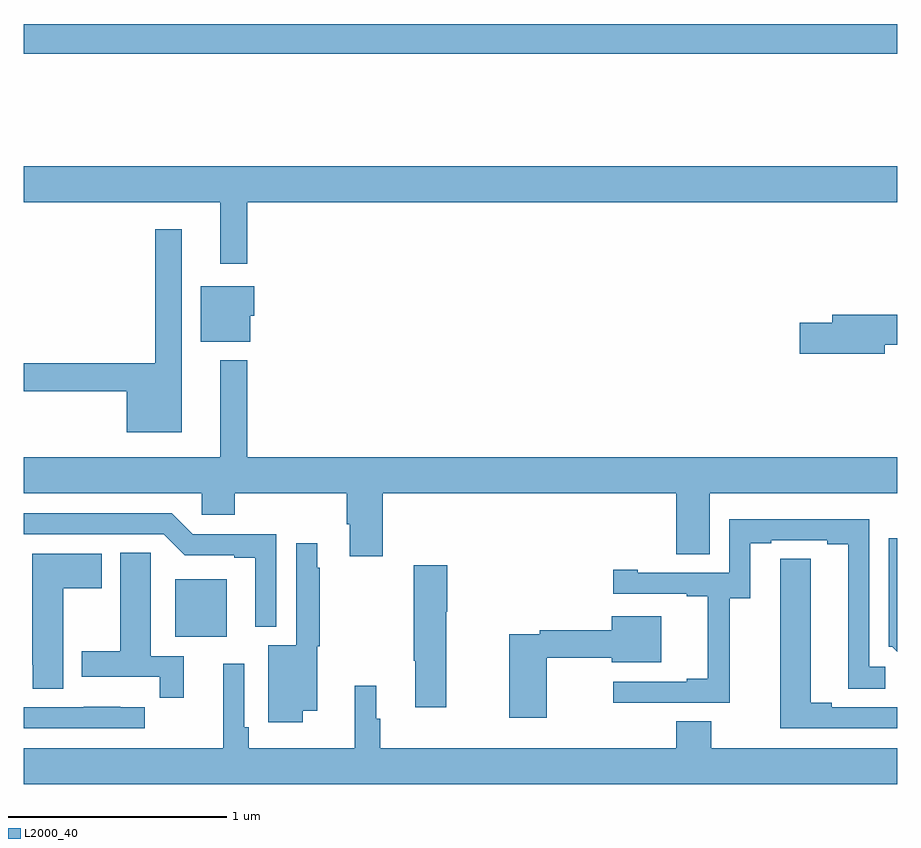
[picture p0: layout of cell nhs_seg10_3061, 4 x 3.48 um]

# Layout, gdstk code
import gdstk
lib = gdstk.Library(unit=1e-6, precision=1e-09)
def R(c, l, rs):  # rectangles x0, y0, x1, y1
    for r in rs: c.add(gdstk.rectangle(r[:2], r[2:], *l))
def P(c, l, *ps):  # polygons
    for p in ps: c.add(gdstk.Polygon(p, *l))
L2000_40 = (2000, 40)

nhs_seg10_3061 = lib.new_cell('nhs_seg10_3061')
R(nhs_seg10_3061, L2000_40, [(277.694,1283.675,277.93,1283.938), (277,1286.344,281,1286.48)])
P(nhs_seg10_3061, L2000_40, [(278.023,1285.664),(281,1285.664),(281,1285.828),(277,1285.828),(277,1285.664),(277.901,1285.664),(277.901,1285.383),(278.023,1285.383)],
  [(277.723,1285.54),(277.602,1285.54),(277.602,1284.926),(277,1284.926),(277,1284.798),(277.472,1284.798),(277.472,1284.611),(277.723,1284.611)],
  [(278.038,1285.143),(278.056,1285.143),(278.056,1285.279),(277.811,1285.279),(277.811,1285.025),(278.038,1285.025)],
  [(280.942,1285.012),(281,1285.012),(281,1285.148),(280.703,1285.148),(280.703,1285.112),(280.554,1285.112),(280.554,1284.97),(280.942,1284.97)],
  [(278.645,1284.332),(279.989,1284.332),(279.989,1284.052),(280.141,1284.052),(280.141,1284.332),(281,1284.332),(281,1284.496),(278.023,1284.496),(278.023,1284.94),(277.901,1284.94),(277.901,1284.496),(277,1284.496),(277,1284.332),(277.815,1284.332),(277.815,1284.234),(277.967,1284.234),(277.967,1284.332),(278.48,1284.332),(278.48,1284.19),(278.492,1284.19),(278.492,1284.042),(278.645,1284.042)],
  [(278.157,1284.144),(277.773,1284.144),(277.677,1284.24),(277,1284.24),(277,1284.144),(277.641,1284.144),(277.737,1284.048),(277.964,1284.048),(277.964,1284.036),(278.06,1284.036),(278.06,1283.72),(278.157,1283.72)],
  [(280.233,1283.851),(280.327,1283.851),(280.327,1284.102),(280.423,1284.102),(280.423,1284.117),(280.679,1284.117),(280.679,1284.097),(280.775,1284.097),(280.775,1283.437),(280.945,1283.437),(280.945,1283.538),(280.872,1283.538),(280.872,1284.213),(280.23,1284.213),(280.23,1283.967),(279.811,1283.967),(279.811,1283.98),(279.699,1283.98),(279.699,1283.871),(280.037,1283.871),(280.037,1283.859),(280.133,1283.859),(280.133,1283.482),(280.037,1283.482),(280.037,1283.469),(279.699,1283.469),(279.699,1283.373),(280.233,1283.373)],
  [(281,1284.125),(280.962,1284.125),(280.962,1283.628),(280.977,1283.628),(281,1283.605)],
  [(278.278,1283.336),(278.344,1283.336),(278.344,1283.631),(278.356,1283.631),(278.356,1283.99),(278.344,1283.99),(278.344,1284.103),(278.247,1284.103),(278.247,1283.635),(278.12,1283.635),(278.12,1283.283),(278.278,1283.283)],
  [(277.733,1283.586),(277.582,1283.586),(277.582,1283.948),(277.581,1283.948),(277.581,1284.059),(277.442,1284.059),(277.442,1283.607),(277.265,1283.607),(277.265,1283.49),(277.624,1283.49),(277.624,1283.394),(277.733,1283.394)],
  [(277.18,1283.896),(277.357,1283.896),(277.357,1284.055),(277.04,1284.055),(277.04,1283.545),(277.041,1283.545),(277.041,1283.437),(277.18,1283.437)],
  [(281,1283.352),(280.699,1283.352),(280.699,1283.372),(280.603,1283.372),(280.603,1284.032),(280.464,1284.032),(280.464,1283.924),(280.463,1283.924),(280.463,1283.256),(281,1283.256)],
  [(278.934,1283.788),(278.939,1283.788),(278.939,1284.001),(278.785,1284.001),(278.785,1283.564),(278.792,1283.564),(278.792,1283.352),(278.934,1283.352)],
  [(279.396,1283.577),(279.692,1283.577),(279.692,1283.558),(279.919,1283.558),(279.919,1283.767),(279.692,1283.767),(279.692,1283.705),(279.364,1283.705),(279.364,1283.685),(279.223,1283.685),(279.223,1283.304),(279.396,1283.304)],
  [(281,1283.164),(280.149,1283.164),(280.149,1283.288),(279.989,1283.288),(279.989,1283.164),(278.633,1283.164),(278.633,1283.298),(278.614,1283.298),(278.614,1283.449),(278.515,1283.449),(278.515,1283.164),(278.03,1283.164),(278.03,1283.26),(278.01,1283.26),(278.01,1283.551),(277.913,1283.551),(277.913,1283.164),(277,1283.164),(277,1283),(281,1283)],
  [(277.555,1283.352),(277.442,1283.352),(277.442,1283.353),(277.276,1283.353),(277.276,1283.352),(277,1283.352),(277,1283.256),(277.555,1283.256)])

lib.write_gds('nhs_seg10_3061.gds')
